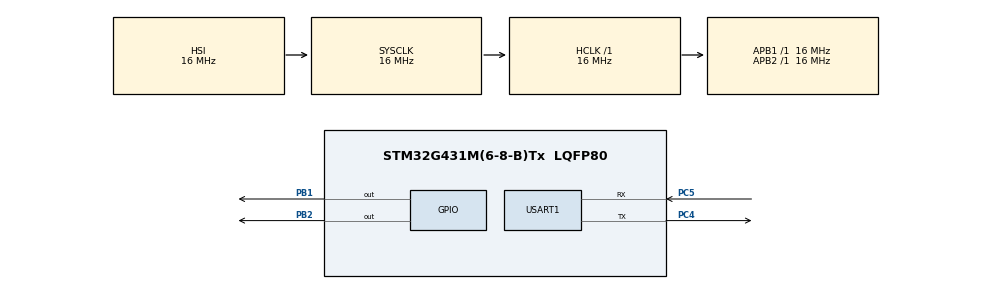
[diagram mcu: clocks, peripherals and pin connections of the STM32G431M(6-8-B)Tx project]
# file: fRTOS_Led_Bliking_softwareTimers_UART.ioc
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FREERTOS.Tasks01=defaultTask,0,128,StartDefaultTask,Default,NULL,Dynamic,NULL,NULL
FREERTOS.configUSE_NEWLIB_REENTRANT=1
FREERTOS.configUSE_TIMERS=1
Mcu.Family=STM32G4
Mcu.Name=STM32G431M(6-8-B)Tx
Mcu.Package=LQFP80
NVIC.PriorityGroup=NVIC_PRIORITYGROUP_4
NVIC.TIM1_UP_TIM16_IRQn=true\:15\:0\:false\:false\:true\:false\:false\:true\:true
NVIC.TimeBase=TIM1_UP_TIM16_IRQn
NVIC.TimeBaseIP=TIM1
NVIC.USART1_IRQn=true\:6\:0\:true\:false\:true\:true\:true\:true\:true
PA13.Mode=Serial_Wire
PA13.Signal=SYS_JTMS-SWDIO
PA14.Mode=Serial_Wire
PA14.Signal=SYS_JTCK-SWCLK
PB1.PinState=GPIO_PIN_SET
PB1.Signal=GPIO_Output
PB2.PinState=GPIO_PIN_SET
PB2.Signal=GPIO_Output
PC4.Mode=Asynchronous
PC4.Signal=USART1_TX
PC5.Mode=Asynchronous
PC5.Signal=USART1_RX
ProjectManager.HeapSize=0x200
ProjectManager.StackSize=0x400
ProjectManager.TargetToolchain=STM32CubeIDE
RCC.AHBFreq_Value=16000000
RCC.APB1Freq_Value=16000000
RCC.APB1TimFreq_Value=16000000
RCC.APB2Freq_Value=16000000
RCC.APB2TimFreq_Value=16000000
RCC.CortexFreq_Value=16000000
RCC.EXTERNAL_CLOCK_VALUE=12288000
RCC.HCLKFreq_Value=16000000
RCC.HSE_VALUE=8000000
RCC.HSI48_VALUE=48000000
RCC.HSI_VALUE=16000000
RCC.LSE_VALUE=32768
RCC.SYSCLKFreq_VALUE=16000000
RCC.USBFreq_Value=64000000
RCC.VCOOutputFreq_Value=128000000
USART1.VirtualMode-Asynchronous=VM_ASYNC
VP_FREERTOS_VS_CMSIS_V1.Mode=CMSIS_V1
VP_SYS_VS_DBSignals.Mode=DisableDeadBatterySignals
VP_SYS_VS_tim1.Mode=TIM1
board=custom

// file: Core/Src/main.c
/* USER CODE BEGIN Header */
/**
  ******************************************************************************
  * @file           : main.c
  * @brief          : Main program body
  ******************************************************************************
  * @attention
  *
  * Copyright (c) 2025 STMicroelectronics.
  * All rights reserved.
  *
  * This software is licensed under terms that can be found in the LICENSE file
  * in the root directory of this software component.
  * If no LICENSE file comes with this software, it is provided AS-IS.
  *
  ******************************************************************************
  */
/* USER CODE END Header */
#include "main.h"
#include "cmsis_os.h"

/* USER CODE BEGIN Includes */

#include "FreeRTOS.h"
#include "task.h"
#include "queue.h"
#include "timers.h"
#include <string.h>

/* USER CODE END Includes */

/* USER CODE BEGIN PTD */

typedef struct{
	uint8_t payload[10];
	uint32_t len;
}command_t;

/* USER CODE END PTD */

UART_HandleTypeDef huart1;

osThreadId defaultTaskHandle;
/* USER CODE BEGIN PV */

xTaskHandle handle_led_task;
xTaskHandle handle_cmd_task;
xTaskHandle handle_isr_task;
QueueHandle_t q_data;
volatile uint8_t user_data;
TimerHandle_t handle_led_timer[3];

/* USER CODE END PV */

void SystemClock_Config(void);
static void MX_GPIO_Init(void);
static void MX_USART1_UART_Init(void);
void StartDefaultTask(void const * argument);

/* USER CODE BEGIN PFP */

void handler_led_task (void * param);
void handler_cmd_task (void * param);
void led_effect_stop (void);
void led_effect (int n);
void led_effect_callback (TimerHandle_t xTimer);

/* USER CODE END PFP */

/* USER CODE BEGIN 0 */

void HAL_UART_RxCpltCallback(UART_HandleTypeDef *huart)
{
	for (volatile int i = 0; i < 6000; i++);

	if (huart->Instance == USART1){
		if(! xQueueIsQueueFullFromISR(q_data)){
			xQueueSendFromISR(q_data, (void *)&user_data, NULL);
		}

		HAL_UART_Transmit(&huart1, &user_data, 1, 10);

		if(user_data == '\r' || user_data == '\n'){
			xTaskNotifyFromISR(handle_cmd_task, 0, eNoAction, NULL);
		}

		HAL_UART_Receive_IT(&huart1, (uint8_t*)&user_data, 1);
		HAL_GPIO_WritePin(GPIOB, GPIO_PIN_1, 1);
	}
}

/* USER CODE END 0 */

int main(void)
{

  /* MCU Configuration--------------------------------------------------------*/

  /* Reset of all peripherals, Initializes the Flash interface and the Systick. */
  HAL_Init();

  /* Configure the system clock */
  SystemClock_Config();

  /* Initialize all configured peripherals */
  MX_GPIO_Init();
  MX_USART1_UART_Init();
  /* USER CODE BEGIN 2 */

  BaseType_t status;

  status = xTaskCreate(handler_led_task, "led_task", 128, NULL, 2, &handle_led_task);
  configASSERT(status == pdPASS);

  status = xTaskCreate(handler_cmd_task, "cmd_task", 128, NULL, 2, &handle_cmd_task);
  configASSERT(status == pdPASS);

  q_data = xQueueCreate(10, sizeof(char));
  configASSERT( q_data != NULL);

  for(int i = 0; i < 3; i++){
	  handle_led_timer[i] = xTimerCreate("led_timer", pdMS_TO_TICKS(500), pdTRUE, (void*)(i+1), led_effect_callback);
  }

  HAL_GPIO_WritePin(GPIOB, GPIO_PIN_1, 0);
  HAL_UART_Transmit(&huart1, (uint8_t*)"Enter a number 0-3\r\n", strlen("Enter a number 0-3\r\n"), 100);
  HAL_UART_Receive_IT(&huart1, &user_data, 1);

  vTaskStartScheduler();

  /* USER CODE END 2 */

  /* Create the thread(s) */
  /* definition and creation of defaultTask */

  /* Start scheduler */

  /* We should never get here as control is now taken by the scheduler */

  /* Infinite loop */
  while (1)
  {
  }
}

void SystemClock_Config(void)
{
  RCC_OscInitTypeDef RCC_OscInitStruct = {0};
  RCC_ClkInitTypeDef RCC_ClkInitStruct = {0};

  /** Configure the main internal regulator output voltage
  */
  HAL_PWREx_ControlVoltageScaling(PWR_REGULATOR_VOLTAGE_SCALE1);

  /** Initializes the RCC Oscillators according to the specified parameters
  * in the RCC_OscInitTypeDef structure.
  */
  RCC_OscInitStruct.OscillatorType = RCC_OSCILLATORTYPE_HSI;
  RCC_OscInitStruct.HSIState = RCC_HSI_ON;
  RCC_OscInitStruct.HSICalibrationValue = RCC_HSICALIBRATION_DEFAULT;
  RCC_OscInitStruct.PLL.PLLState = RCC_PLL_NONE;
  if (HAL_RCC_OscConfig(&RCC_OscInitStruct) != HAL_OK)
  {
    Error_Handler();
  }

  /** Initializes the CPU, AHB and APB buses clocks
  */
  RCC_ClkInitStruct.ClockType = RCC_CLOCKTYPE_HCLK|RCC_CLOCKTYPE_SYSCLK
                              |RCC_CLOCKTYPE_PCLK1|RCC_CLOCKTYPE_PCLK2;
  RCC_ClkInitStruct.SYSCLKSource = RCC_SYSCLKSOURCE_HSI;
  RCC_ClkInitStruct.AHBCLKDivider = RCC_SYSCLK_DIV1;
  RCC_ClkInitStruct.APB1CLKDivider = RCC_HCLK_DIV1;
  RCC_ClkInitStruct.APB2CLKDivider = RCC_HCLK_DIV1;

  if (HAL_RCC_ClockConfig(&RCC_ClkInitStruct, FLASH_LATENCY_0) != HAL_OK)
  {
    Error_Handler();
  }
}

static void MX_USART1_UART_Init(void)
{

  huart1.Instance = USART1;
  huart1.Init.BaudRate = 115200;
  huart1.Init.WordLength = UART_WORDLENGTH_8B;
  huart1.Init.StopBits = UART_STOPBITS_1;
  huart1.Init.Parity = UART_PARITY_NONE;
  huart1.Init.Mode = UART_MODE_TX_RX;
  huart1.Init.HwFlowCtl = UART_HWCONTROL_NONE;
  huart1.Init.OverSampling = UART_OVERSAMPLING_16;
  huart1.Init.OneBitSampling = UART_ONE_BIT_SAMPLE_DISABLE;
  huart1.Init.ClockPrescaler = UART_PRESCALER_DIV1;
  huart1.AdvancedInit.AdvFeatureInit = UART_ADVFEATURE_NO_INIT;
  if (HAL_UART_Init(&huart1) != HAL_OK)
  {
    Error_Handler();
  }
  if (HAL_UARTEx_SetTxFifoThreshold(&huart1, UART_TXFIFO_THRESHOLD_1_8) != HAL_OK)
  {
    Error_Handler();
  }
  if (HAL_UARTEx_SetRxFifoThreshold(&huart1, UART_RXFIFO_THRESHOLD_1_8) != HAL_OK)
  {
    Error_Handler();
  }
  if (HAL_UARTEx_DisableFifoMode(&huart1) != HAL_OK)
  {
    Error_Handler();
  }

}

static void MX_GPIO_Init(void)
{
  GPIO_InitTypeDef GPIO_InitStruct = {0};

  /* GPIO Ports Clock Enable */
  __HAL_RCC_GPIOC_CLK_ENABLE();
  __HAL_RCC_GPIOB_CLK_ENABLE();
  __HAL_RCC_GPIOA_CLK_ENABLE();

  /*Configure GPIO pin Output Level */
  HAL_GPIO_WritePin(GPIOB, GPIO_PIN_1|GPIO_PIN_2, GPIO_PIN_SET);

  /*Configure GPIO pins : PB1 PB2 */
  GPIO_InitStruct.Pin = GPIO_PIN_1|GPIO_PIN_2;
  GPIO_InitStruct.Mode = GPIO_MODE_OUTPUT_PP;
  GPIO_InitStruct.Pull = GPIO_NOPULL;
  GPIO_InitStruct.Speed = GPIO_SPEED_FREQ_LOW;
  HAL_GPIO_Init(GPIOB, &GPIO_InitStruct);

}

/* USER CODE BEGIN 4 */

void handler_cmd_task (void * param)
{
	BaseType_t ret;
	static command_t cmd;
	BaseType_t status;
	uint8_t item;

	HAL_GPIO_WritePin(GPIOB, GPIO_PIN_1, 0);

	while(1){
		ret = xTaskNotifyWait(0, 0, NULL, portMAX_DELAY);
		if(ret == pdTRUE){
			status = uxQueueMessagesWaiting(q_data);
			if(status){
				uint8_t i = 0;
				do{
					status = xQueueReceive(q_data, &item, 0);
					if(status == pdTRUE){
						if (i < sizeof(cmd.payload) - 1)
							cmd.payload[i++] = item;
					}
				}while(item != '\r' && item != '\n');
				cmd.payload[i-1] = '\0';
				cmd.len = i-1;

				HAL_GPIO_WritePin(GPIOB, GPIO_PIN_1, 1);

				if(cmd.len == 1 && cmd.payload[0] >= '0' && cmd.payload[0] <= '3'){
					xTaskNotify(handle_led_task, (uint32_t)&cmd, eSetValueWithOverwrite);
				}
				else {
					HAL_UART_Transmit(&huart1, (uint8_t*)"Invalid Input\r\n", strlen("Invalid Input\r\n"), 100);
				}
			}
		}
	}
}

void handler_led_task(void * param)
{
	uint32_t cmd_addr;
	command_t *cmd;
	int option;
	while(1){
		xTaskNotifyWait(0,  0, &cmd_addr, portMAX_DELAY);
		cmd = (command_t *)(cmd_addr);

		if(cmd->len == 1){
			option = cmd->payload[0] - '0';
		}

		switch(option){
		case 0:
			led_effect_stop();
			break;
		case 1:
			led_effect(1);
			break;
		case 2:
			led_effect(2);
			break;
		case 3:
			led_effect(3);
			break;
		}
	}
}

void led_effect_stop(void){

	for(int i = 0; i < 3; i++){
		xTimerStop(handle_led_timer[i], portMAX_DELAY);
	}
}

void led_effect (int n)
{
	led_effect_stop();
	xTimerStart(handle_led_timer[n-1], portMAX_DELAY);
}

void led_effect_callback(TimerHandle_t xTimer){

	int id;

	id = (uint32_t)pvTimerGetTimerID(xTimer);

	switch(id){

	case 1:
		HAL_GPIO_WritePin(GPIOB, GPIO_PIN_2, 1);
		HAL_GPIO_TogglePin(GPIOB, GPIO_PIN_1);
		break;

	case 2:
		HAL_GPIO_WritePin(GPIOB, GPIO_PIN_1, 1);
		HAL_GPIO_TogglePin(GPIOB, GPIO_PIN_2);
		break;

	case 3:
		static int flag = 1;
		flag ^= 1;
		if (flag){
			HAL_GPIO_WritePin(GPIOB, GPIO_PIN_1, 0);
			HAL_GPIO_WritePin(GPIOB, GPIO_PIN_2, 0);
		}
		else {
			HAL_GPIO_WritePin(GPIOB, GPIO_PIN_1, 1);
			HAL_GPIO_WritePin(GPIOB, GPIO_PIN_2, 1);
		}

		break;
	}
}

/* USER CODE END 4 */

void StartDefaultTask(void const * argument)
{
  for(;;)
  {
    osDelay(1);
  }
}

void HAL_TIM_PeriodElapsedCallback(TIM_HandleTypeDef *htim)
{
  if (htim->Instance == TIM1)
  {
    HAL_IncTick();
  }
}

void Error_Handler(void)
{
  __disable_irq();
  while (1)
  {
  }
}
